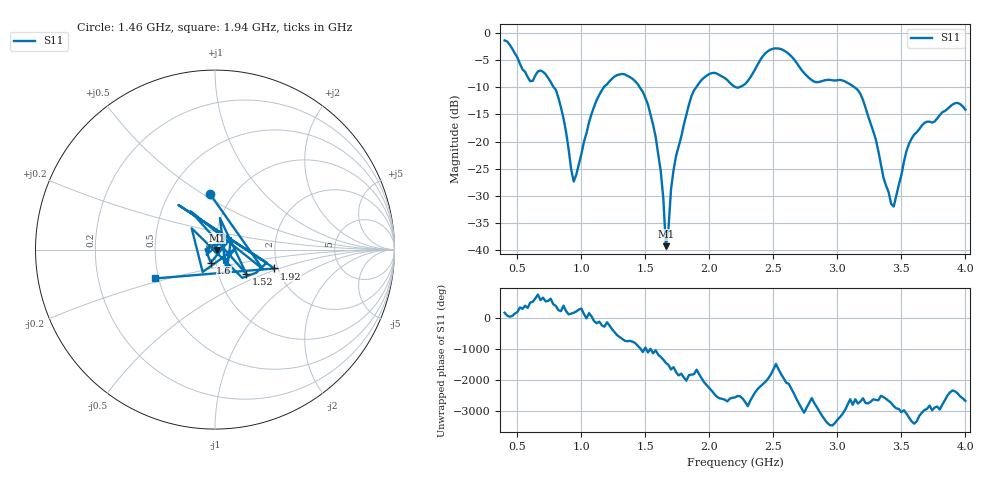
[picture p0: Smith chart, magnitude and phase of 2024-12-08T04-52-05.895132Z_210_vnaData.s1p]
!Created with skrf (http://scikit-rf.org).
# Hz S RI R 50.0
!freq ReS11 ImS11
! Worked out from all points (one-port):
!   181 points, 400 MHz to 4 GHz, reference 50 ohm
!   lowest |S11| = -39.4 dB at 1.66 GHz (marker M1), VSWR 1.02, Z = 51.1 - j0.238 ohm
!   |S11| at or under -10 dB: 785.3 MHz to 1.174 GHz (388.9 MHz wide, 39.7 % of centre); 1.457 GHz to 1.896 GHz (439 MHz wide, 26.2 % of centre); 3.136 GHz to end of sweep (the widest 3 of 4)
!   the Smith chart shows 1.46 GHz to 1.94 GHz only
!   S11 on the Smith chart (normalised r, x): 1.46 GHz: 0.78, +0.54; 1.52 GHz: 1.36, -0.38; 1.6 GHz: 0.94, -0.14; 1.92 GHz: 1.92, -0.46; 1.94 GHz: 0.48, -0.18
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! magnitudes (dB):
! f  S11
! 400 MHz  -1.3
! 600 MHz  -8.8
! 720 MHz  -7.5
! 860 MHz  -15.7
! 940 MHz  -27.4
! 1.12 GHz  -12.3
! 1.3 GHz  -7.6
! 1.46 GHz  -10.1
! 1.52 GHz  -13.2
! 1.6 GHz  -22.3
! 1.64 GHz  -30.5
! 1.66 GHz  -39.4
! 1.68 GHz  -36.3
! 1.7 GHz  -28.9
! 1.76 GHz  -20.9
! 1.86 GHz  -11.6
! 1.92 GHz  -9.2
! 1.94 GHz  -8.6
! 2.2 GHz  -9.9
! 2.48 GHz  -3.0
! 2.66 GHz  -4.8
! 2.82 GHz  -8.9
! 3.1 GHz  -9.4
! 3.2 GHz  -12.3
! 3.44 GHz  -32.0
! 3.56 GHz  -20.4
! 3.9 GHz  -13.1
! 4 GHz  -14.1
